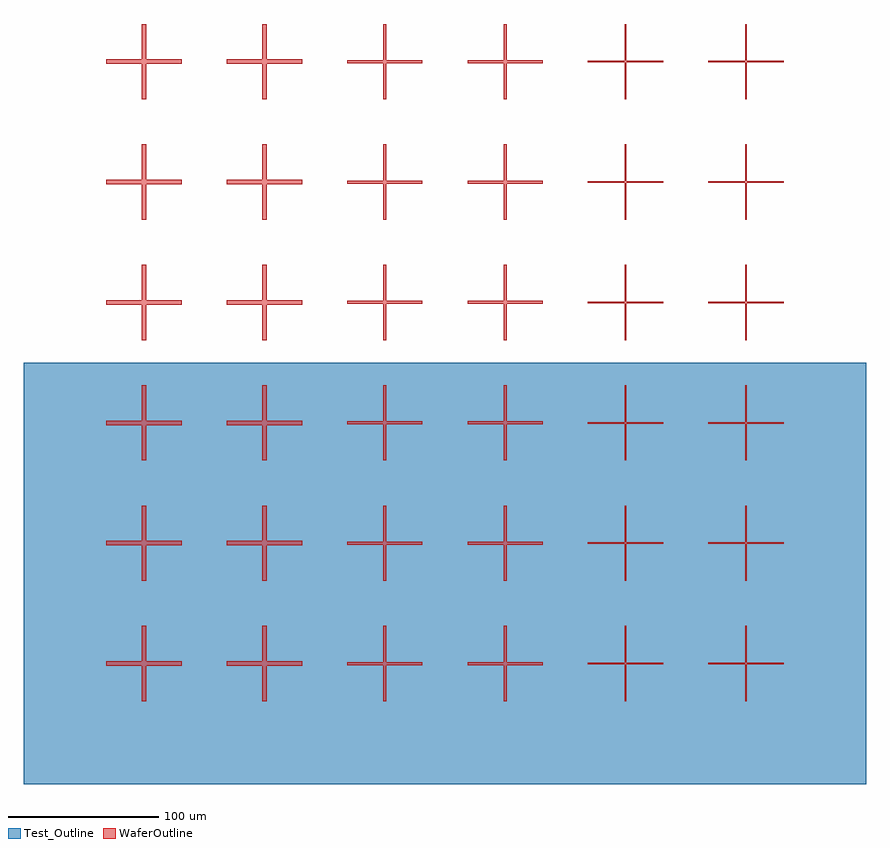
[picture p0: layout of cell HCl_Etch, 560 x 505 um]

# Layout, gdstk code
import gdstk
lib = gdstk.Library(unit=1e-6, precision=1e-09)
def R(c, l, rs):  # rectangles x0, y0, x1, y1
    for r in rs: c.add(gdstk.rectangle(r[:2], r[2:], *l))
def A(c, l, x, y, w, h, nx, ny, dx, dy):  # array of equal rectangles
    R(c, l, [(x+i*dx, y+j*dy, x+i*dx+w, y+j*dy+h) for i in range(nx) for j in range(ny)])
WaferOutline = (1, 0)
Test_Outline = (3, 0)

crossarray_2 = lib.new_cell('CrossArray$2')
A(crossarray_2, WaferOutline, -1.5, -25, 3, 50, 1, 6, 0, 80)
A(crossarray_2, WaferOutline, 78.5, -25, 3, 50, 1, 6, 0, 80)
A(crossarray_2, WaferOutline, -25, -1.5, 50, 3, 1, 6, 0, 80)
A(crossarray_2, WaferOutline, 55, -1.5, 50, 3, 1, 6, 0, 80)

crossarray_4 = lib.new_cell('CrossArray$4')
A(crossarray_4, WaferOutline, -0.5, -25, 1, 50, 1, 6, 0, 80)
A(crossarray_4, WaferOutline, 79.5, -25, 1, 50, 1, 6, 0, 80)
A(crossarray_4, WaferOutline, -25, -0.5, 50, 1, 1, 6, 0, 80)
A(crossarray_4, WaferOutline, 55, -0.5, 50, 1, 1, 6, 0, 80)

crossarray_8 = lib.new_cell('CrossArray$8')
A(crossarray_8, WaferOutline, -1, -25, 2, 50, 1, 6, 0, 80)
A(crossarray_8, WaferOutline, 79, -25, 2, 50, 1, 6, 0, 80)
A(crossarray_8, WaferOutline, -25, -1, 50, 2, 1, 6, 0, 80)
A(crossarray_8, WaferOutline, 55, -1, 50, 2, 1, 6, 0, 80)

hcl_etch = lib.new_cell('HCl_Etch')
R(hcl_etch, Test_Outline, [(-280,-280,280,0)])
hcl_etch.add(gdstk.Reference(crossarray_2, (-200,-200)))
hcl_etch.add(gdstk.Reference(crossarray_4, (120,-200)))
hcl_etch.add(gdstk.Reference(crossarray_8, (-40,-200)))

lib.write_gds('HCl_Etch.gds')
